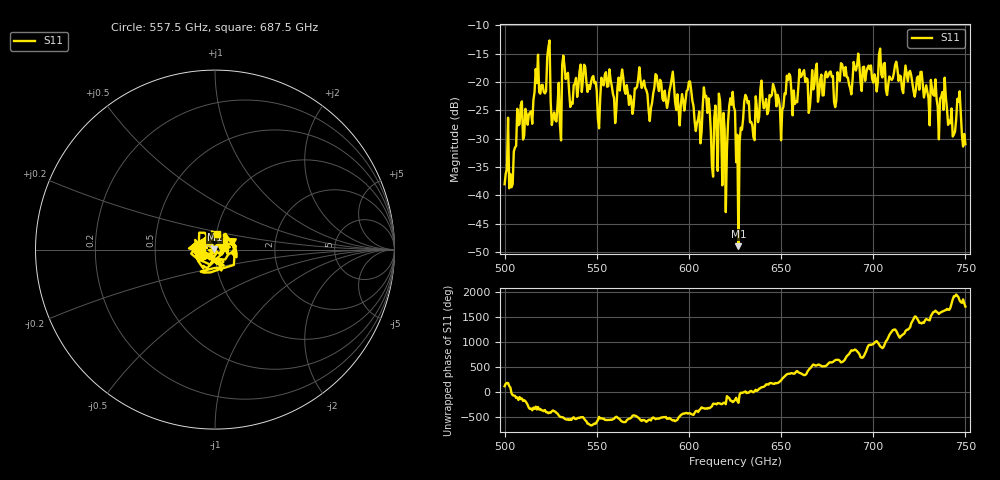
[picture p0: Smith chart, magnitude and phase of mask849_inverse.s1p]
!Created with skrf (http://scikit-rf.org).
# GHz S MA R 50.0
!freq magS11 angS11
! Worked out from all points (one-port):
!   401 points, 500 GHz to 750 GHz, reference 50 ohm
!   lowest |S11| = -49.0 dB at 626.9 GHz (marker M1), VSWR 1.01, Z = 49.7 + j0.191 ohm
!   |S11| at or under -10 dB: start of sweep to end of sweep
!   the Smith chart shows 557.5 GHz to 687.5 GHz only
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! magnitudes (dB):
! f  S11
! 500 GHz  -38.0
! 516.9 GHz  -17.7
! 523.8 GHz  -13.9
! 526.9 GHz  -25.4
! 531.2 GHz  -16.9
! 532.5 GHz  -17.2
! 562.5 GHz  -21.5
! 578.8 GHz  -26.9
! 590.6 GHz  -19.5
! 593.8 GHz  -22.2
! 600 GHz  -19.9
! 605.6 GHz  -25.2
! 609.4 GHz  -22.5
! 612.5 GHz  -34.8
! 617.5 GHz  -28.3
! 619.4 GHz  -28.3
! 622.5 GHz  -22.9
! 625 GHz  -25.1
! 626.9 GHz  -49.0
! 631.2 GHz  -22.7
! 634.4 GHz  -27.6
! 640 GHz  -23.2
! 656.2 GHz  -25.9
! 687.5 GHz  -21.1
! 718.8 GHz  -19.9
! 743.1 GHz  -29.6
! 746.2 GHz  -23.5
! 750 GHz  -31.0
